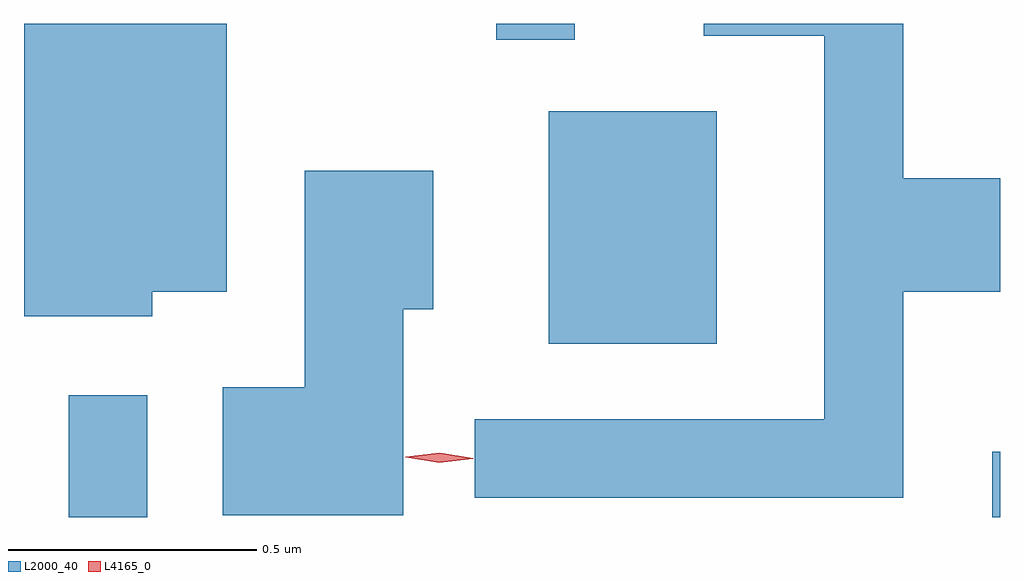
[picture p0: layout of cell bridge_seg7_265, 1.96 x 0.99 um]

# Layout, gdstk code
import gdstk
lib = gdstk.Library(unit=1e-6, precision=1e-09)
def R(c, l, rs):  # rectangles x0, y0, x1, y1
    for r in rs: c.add(gdstk.rectangle(r[:2], r[2:], *l))
def P(c, l, *ps):  # polygons
    for p in ps: c.add(gdstk.Polygon(p, *l))
L2000_40 = (2000, 40)
L4165_0 = (4165, 0)

bridge_seg7_265 = lib.new_cell('bridge_seg7_265')
R(bridge_seg7_265, L2000_40, [(1728.286,1668.252,1728.444,1668.498), (1730.143,1668.252,1730.159,1668.384), (1729.251,1668.601,1729.589,1669.069), (1729.146,1669.213,1729.304,1669.245)])
P(bridge_seg7_265, L2000_40, [(1728.454,1668.706),(1728.604,1668.706),(1728.604,1669.245),(1728.196,1669.245),(1728.196,1668.656),(1728.454,1668.656)],
  [(1729.964,1668.706),(1730.159,1668.706),(1730.159,1668.934),(1729.964,1668.934),(1729.964,1669.245),(1729.563,1669.245),(1729.563,1669.221),(1729.806,1669.221),(1729.806,1668.449),(1729.103,1668.449),(1729.103,1668.291),(1729.964,1668.291)],
  [(1728.959,1668.671),(1729.019,1668.671),(1729.019,1668.949),(1728.761,1668.949),(1728.761,1668.514),(1728.596,1668.514),(1728.596,1668.256),(1728.959,1668.256)])
P(bridge_seg7_265, L4165_0, [(1729.031,1668.362),(1728.964,1668.373),(1728.963,1668.373),(1728.964,1668.374),(1729.032,1668.382),(1729.1,1668.371),(1729.1,1668.37),(1729.1,1668.37)])

lib.write_gds('bridge_seg7_265.gds')
